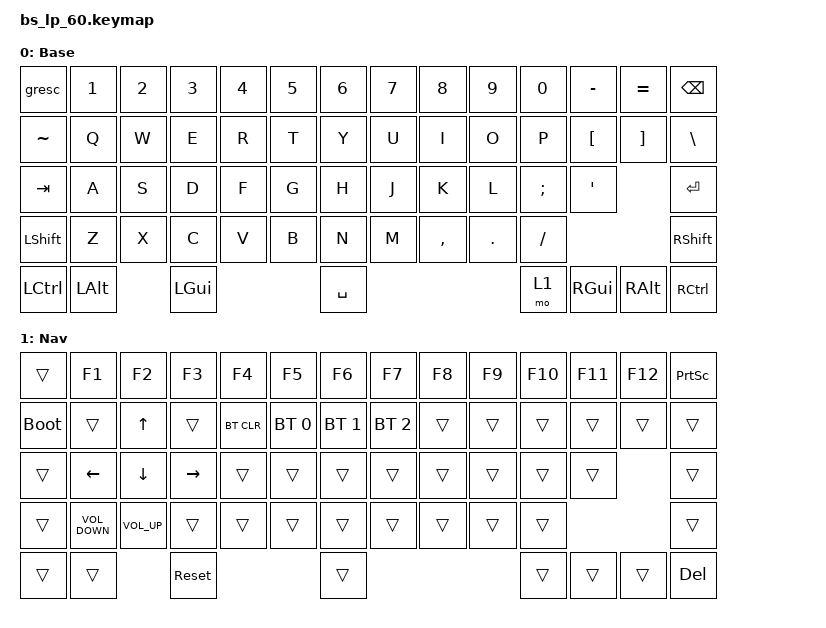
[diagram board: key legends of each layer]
/*
 * Copyright (c) 2021 Cole Smith
 *
 * SPDX-License-Identifier: MIT
 */

#include <dt-bindings/zmk/reset.h>
#include <behaviors.dtsi>
#include <dt-bindings/zmk/bt.h>
#include <dt-bindings/zmk/keys.h>

#define BAS_L 0
#define NAV_L 1

/ {
    keymap {
        compatible = "zmk,keymap";

        default_layer {
            // ------------------------------------------------------------------------------------------
            // | ESC |  1  |  2  |  3  |  4  |  5  |  6  |  7  |  8  |  9  |  0  |  -  |  =  |   BKSP   |
            // | TAB  |  Q  |  W  |  E  |  R  |  T  |  Y  |  U  |  I  |  O  |  P  |  [  |  ]  |   "|"   |
            // | CAPS  |  A  |  S  |  D  |  F  |  G  |  H  |  J  |  K  |  L  |  ;  |  '  |     ENTER    |
            // |  SHIFT  |  Z  |  X  |  C  |  V  |  B  |  N  |  M  |  ,  |  .  |  /  |      SHIFT       |
            // |  CTL  |  WIN  |  ALT  |            SPACE              |  ALT  |  WIN  |  MO(1) |  CTL  |
            // ------------------------------------------------------------------------------------------

            label = "Base";
            bindings = <
&gresc     &kp N1        &kp N2  &kp N3        &kp N4  &kp N5  &kp N6     &kp N7  &kp N8     &kp N9   &kp N0    &kp MINUS      &kp EQUAL      &kp BSPC
&kp TILDE  &kp Q         &kp W   &kp E         &kp R   &kp T   &kp Y      &kp U   &kp I      &kp O    &kp P     &kp LBKT       &kp RBKT       &kp BSLH
&kp TAB    &kp A         &kp S   &kp D         &kp F   &kp G   &kp H      &kp J   &kp K      &kp L    &kp SEMI  &kp SQT                       &kp RET
&kp LSHFT  &kp Z         &kp X   &kp C         &kp V   &kp B   &kp N      &kp M   &kp COMMA  &kp DOT  &kp FSLH                                &kp RSHFT
&kp LCTRL  &kp LEFT_ALT          &kp LEFT_GUI                  &kp SPACE                              &mo 1     &kp RIGHT_GUI  &kp RIGHT_ALT  &kp RCTRL
            >;
        };

        mod-layer {
            // ------------------------------------------------------------------------------------------------
            // | BT CLR | F1  | F2  | F3  | F4  | F5  | F6  | F7  | F8  | F9  | F10  | F11 | F12 |            |
            // |  BT 1   |   |  UP |   |       |       |       |       |   |     |    |     |     |           |
            // |   BT 2   | LT |  DN  | RT |       |       |       |       |   |     |   |     |              |
            // |    BT 3     |     |      |      |     |     |     |     |     |     |     |                  |
            // |   BT 4  |      |      |                                    | PRT SCR |       |       |  DEL  |
            // ------------------------------------------------------------------------------------------------

            label = "Nav";
            bindings = <
&trans       &kp F1             &kp F2        &kp F3      &kp F4      &kp F5        &kp F6        &kp F7        &kp F8  &kp F9  &kp F10  &kp F11  &kp F12  &kp PRINTSCREEN
&bootloader  &trans             &kp UP        &trans      &bt BT_CLR  &bt BT_SEL 0  &bt BT_SEL 1  &bt BT_SEL 2  &trans  &trans  &trans   &trans   &trans   &trans
&trans       &kp LEFT           &kp DOWN      &kp RIGHT   &trans      &trans        &trans        &trans        &trans  &trans  &trans   &trans            &trans
&trans       &kp K_VOLUME_DOWN  &kp K_VOL_UP  &trans      &trans      &trans        &trans        &trans        &trans  &trans  &trans                     &trans
&trans       &trans                           &sys_reset                            &trans                                      &trans   &trans   &trans   &kp DEL
            >;
        };
    };
};
